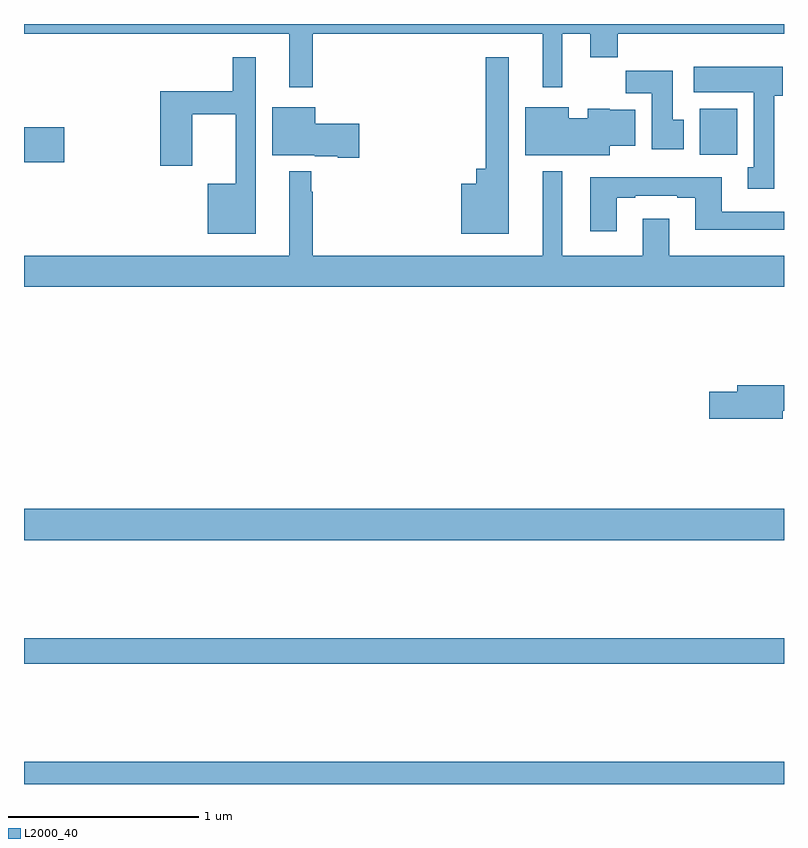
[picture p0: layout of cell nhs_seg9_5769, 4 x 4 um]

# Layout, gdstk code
import gdstk
lib = gdstk.Library(unit=1e-6, precision=1e-09)
def R(c, l, rs):  # rectangles x0, y0, x1, y1
    for r in rs: c.add(gdstk.rectangle(r[:2], r[2:], *l))
def P(c, l, *ps):  # polygons
    for p in ps: c.add(gdstk.Polygon(p, *l))
L2000_40 = (2000, 40)

nhs_seg9_5769 = lib.new_cell('nhs_seg9_5769')
R(nhs_seg9_5769, L2000_40, [(447,1164.5,451,1164.616), (447,1165.132,451,1165.268), (447,1165.784,451,1165.948), (447,1167.773,447.211,1167.956), (450.557,1167.812,450.754,1168.054)])
P(nhs_seg9_5769, L2000_40, [(447,1168.448),(448.397,1168.448),(448.397,1168.167),(448.519,1168.167),(448.519,1168.448),(449.729,1168.448),(449.729,1168.167),(449.833,1168.167),(449.833,1168.448),(449.981,1168.448),(449.981,1168.324),(450.125,1168.324),(450.125,1168.448),(451,1168.448),(451,1168.5),(447,1168.5)],
  [(448.219,1168.324),(448.098,1168.324),(448.098,1168.147),(447.716,1168.147),(447.716,1167.753),(447.886,1167.753),(447.886,1168.026),(448.115,1168.026),(448.115,1167.658),(447.968,1167.658),(447.968,1167.395),(448.219,1167.395)],
  [(449.551,1168.324),(449.43,1168.324),(449.43,1167.739),(449.381,1167.739),(449.381,1167.658),(449.3,1167.658),(449.3,1167.395),(449.551,1167.395)],
  [(450.949,1168.122),(450.994,1168.122),(450.994,1168.276),(450.525,1168.276),(450.525,1168.142),(450.842,1168.142),(450.842,1167.746),(450.809,1167.746),(450.809,1167.633),(450.949,1167.633)],
  [(450.472,1167.996),(450.415,1167.996),(450.415,1168.255),(450.166,1168.255),(450.166,1168.136),(450.305,1168.136),(450.305,1167.84),(450.472,1167.84)],
  [(448.765,1167.975),(448.534,1167.975),(448.534,1168.063),(448.307,1168.063),(448.307,1167.809),(448.53,1167.809),(448.53,1167.803),(448.652,1167.803),(448.652,1167.797),(448.765,1167.797)],
  [(450.084,1167.86),(450.217,1167.86),(450.217,1168.048),(450.084,1168.048),(450.084,1168.054),(449.966,1168.054),(449.966,1168.003),(449.866,1168.003),(449.866,1168.063),(449.639,1168.063),(449.639,1167.809),(450.084,1167.809)],
  [(451,1167.28),(450.397,1167.28),(450.397,1167.475),(450.257,1167.475),(450.257,1167.28),(449.833,1167.28),(449.833,1167.724),(449.729,1167.724),(449.729,1167.28),(448.519,1167.28),(448.519,1167.617),(448.511,1167.617),(448.511,1167.724),(448.397,1167.724),(448.397,1167.28),(447,1167.28),(447,1167.116),(451,1167.116)],
  [(450.121,1167.585),(450.217,1167.585),(450.217,1167.597),(450.437,1167.597),(450.437,1167.585),(450.533,1167.585),(450.533,1167.416),(451,1167.416),(451,1167.513),(450.673,1167.513),(450.673,1167.694),(449.981,1167.694),(449.981,1167.408),(450.121,1167.408)],
  [(450.994,1166.464),(451,1166.464),(451,1166.6),(450.755,1166.6),(450.755,1166.564),(450.606,1166.564),(450.606,1166.422),(450.994,1166.422)])

lib.write_gds('nhs_seg9_5769.gds')
